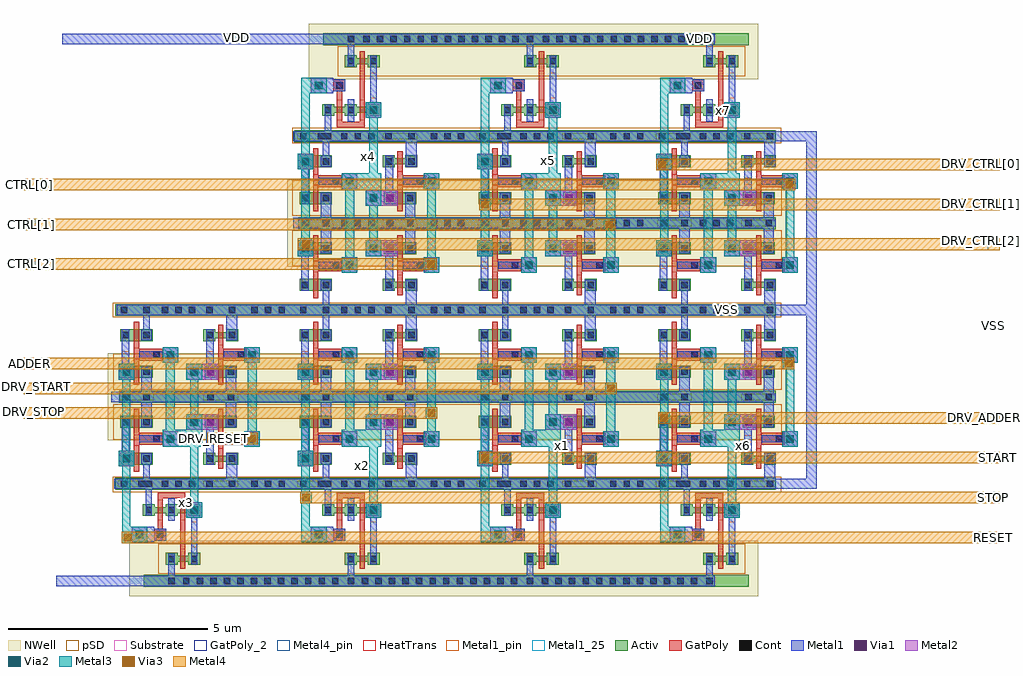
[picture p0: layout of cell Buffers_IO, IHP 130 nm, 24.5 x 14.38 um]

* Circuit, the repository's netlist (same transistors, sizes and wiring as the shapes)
** sch_path: $SCRIPT_DIR/ADC8711-main/schematic/xschem/Buffers_IO.sch
.subckt Buffers_IO DRV_START VDD START VSS DRV_STOP STOP DRV_RESET RESET DRV_ADDER ADDER DRV_CTRL[2] DRV_CTRL[1] DRV_CTRL[0]
+ CTRL[2] CTRL[1] CTRL[0]
*.PININFO DRV_START:I VDD:B VSS:B DRV_STOP:I DRV_RESET:I ADDER:I START:O STOP:O RESET:O DRV_ADDER:O CTRL[2:0]:I DRV_CTRL[2:0]:O
x1 VDD DRV_START VSS START Buffers
x2 VDD DRV_STOP VSS STOP Buffers
x3 VDD DRV_RESET VSS RESET Buffers
x6 VDD ADDER VSS DRV_ADDER Buffers
x4 VDD CTRL[2] VSS DRV_CTRL[2] Buffers
x5 VDD CTRL[1] VSS DRV_CTRL[1] Buffers
x7 VDD CTRL[0] VSS DRV_CTRL[0] Buffers
.ends

* expanding   symbol:  Buffers.sym # of pins=4
** sym_path: $SCRIPT_DIR/ADC8711-main/schematic/xschem/Buffers.sym
** sch_path: $SCRIPT_DIR/ADC8711-main/schematic/xschem/Buffers.sch
.subckt Buffers VDD IN VSS OUT
*.PININFO IN:I VDD:B VSS:B OUT:O
x1[1] VDD net1 IN VSS INV_D1
x1[0] VDD net1 IN VSS INV_D1
x2[1] VDD OUT net1 VSS INV_D2
x2[0] VDD OUT net1 VSS INV_D2
x3 VDD net1 OUT VSS INV05
.ends


* expanding   symbol:  INV_D1.sym # of pins=4
** sym_path: $SCRIPT_DIR/ADC8711-main/schematic/xschem/INV_D1.sym
** sch_path: $SCRIPT_DIR/ADC8711-main/schematic/xschem/INV_D1.sch
.subckt INV_D1 VDD VOUT VIN VSS
*.PININFO VDD:B VSS:B VOUT:O VIN:I
MM2 VOUT VIN VDD VDD sg13_lv_pmos w=0.3u l=0.13u ng=1
MM1 VOUT VIN VSS VSS sg13_lv_nmos w=0.15u l=0.13u ng=1
.ends


* expanding   symbol:  INV_D2.sym # of pins=4
** sym_path: $SCRIPT_DIR/ADC8711-main/schematic/xschem/INV_D2.sym
** sch_path: $SCRIPT_DIR/ADC8711-main/schematic/xschem/INV_D2.sch
.subckt INV_D2 VDD VOUT VIN VSS
*.PININFO VDD:B VSS:B VOUT:O VIN:I
MM1 VOUT VIN VSS VSS sg13_lv_nmos w=0.3u l=0.13u ng=1
MM2 VOUT VIN VDD VDD sg13_lv_pmos w=0.3u l=0.13u ng=1
.ends


* expanding   symbol:  INV05.sym # of pins=4
** sym_path: $SCRIPT_DIR/ADC8711-main/schematic/xschem/INV05.sym
** sch_path: $SCRIPT_DIR/ADC8711-main/schematic/xschem/INV05.sch
.subckt INV05 VDD VOUT VIN VSS
*.PININFO VDD:B VSS:B VOUT:O VIN:I
MM1 net1 VIN VSS VSS sg13_lv_nmos w=0.15u l=0.13u ng=1
MM3 VOUT VIN VDD VDD sg13_lv_pmos w=0.15u l=0.13u ng=1
MM2 VOUT VIN net1 VSS sg13_lv_nmos w=0.15u l=0.13u ng=1
.ends

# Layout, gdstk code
from math import pi, radians
import gdstk
lib = gdstk.Library(unit=1e-6, precision=5e-09)
def R(c, l, rs):  # rectangles x0, y0, x1, y1
    for r in rs: c.add(gdstk.rectangle(r[:2], r[2:], *l))
def A(c, l, x, y, w, h, nx, ny, dx, dy):  # array of equal rectangles
    R(c, l, [(x+i*dx, y+j*dy, x+i*dx+w, y+j*dy+h) for i in range(nx) for j in range(ny)])
Activ = (1, 0)
GatPoly = (5, 0)
GatPoly_2 = (5, 2)
Cont = (6, 0)
Metal1 = (8, 0)
Metal1_pin = (8, 2)
Metal1_25 = (8, 25)
Metal2 = (10, 0)
pSD = (14, 0)
Via1 = (19, 0)
Via2 = (29, 0)
Metal3 = (30, 0)
NWell = (31, 0)
Substrate = (40, 0)
Via3 = (49, 0)
Metal4 = (50, 0)
Metal4_pin = (50, 2)
HeatTrans = (51, 0)

via2_constraint_1 = lib.new_cell('VIA2_constraint$1')
R(via2_constraint_1, Metal2, [(-0.295,-0.095,0.095,0.295)])
R(via2_constraint_1, Via2, [(-0.195,0.005,-0.005,0.195)])
R(via2_constraint_1, Metal3, [(-0.295,-0.095,0.095,0.295)])

via1_constraint_1 = lib.new_cell('VIA1_constraint$1')
R(via1_constraint_1, Metal1, [(-0.39,0,0,0.39)])
R(via1_constraint_1, Metal2, [(-0.39,0,0,0.39)])
R(via1_constraint_1, Via1, [(-0.29,0.1,-0.1,0.29)])

pmos_1_12 = lib.new_cell('pmos$1$12')
R(pmos_1_12, Activ, [(-0.81,0,-0.51,0.3), (-0.81,0,0,0.3), (-0.3,0,0,0.3)])
R(pmos_1_12, GatPoly, [(-0.47,-0.18,-0.34,0.48), (-0.47,-0.18,-0.34,0.48)])
R(pmos_1_12, Cont, [(-0.74,0.07,-0.58,0.23), (-0.23,0.07,-0.07,0.23)])
R(pmos_1_12, Metal1, [(-0.74,0,-0.58,0.3), (-0.74,0,-0.58,0.3), (-0.28,0.02,-0.02,0.3), (-0.23,0.07,-0.07,0.3)])
R(pmos_1_12, pSD, [(-0.99,-0.3,0.18,0.6)])
R(pmos_1_12, NWell, [(-1.12,-0.31,0.31,0.61)])
R(pmos_1_12, Substrate, [(-0.81,0,-0.51,0.3)])
R(pmos_1_12, HeatTrans, [(-0.47,-0.18,-0.34,0.48)])
pmos_1_12.add(gdstk.Label('pmos', (-0.405,0.15), layer=63, texttype=0))
pmos_1_12.add(gdstk.Label('pmos', (-0.405,0.15), layer=51, texttype=0))

nmos_1_7 = lib.new_cell('nmos$1$7')
R(nmos_1_7, Activ, [(-0.87,0,-0.57,0.3), (-0.3,0,0,0.3), (-0.87,0.075,0,0.225)])
R(nmos_1_7, GatPoly, [(-0.5,-0.105,-0.37,0.405)])
R(nmos_1_7, GatPoly_2, [(-0.5,-0.105,-0.37,0.405)])
R(nmos_1_7, Cont, [(-0.8,0.07,-0.64,0.23), (-0.23,0.07,-0.07,0.23)])
R(nmos_1_7, Metal1, [(-0.8,0.02,-0.64,0.28), (-0.23,0.02,-0.07,0.225)])
R(nmos_1_7, Metal1_pin, [(-0.8,0.02,-0.64,0.28), (-0.23,0.02,-0.07,0.23)])
R(nmos_1_7, HeatTrans, [(-0.5,-0.105,-0.37,0.405)])
nmos_1_7.add(gdstk.Label('nmos', (-0.435,0.15), layer=63, texttype=0))
nmos_1_7.add(gdstk.Label('nmos', (-0.435,0.15), layer=51, texttype=0))

inv_d1_12 = lib.new_cell('INV_D1$12')
R(inv_d1_12, Activ, [(-1.15,-0.045,-0.28,0.255), (-1.15,2.135,-0.28,2.435)])
R(inv_d1_12, GatPoly, [(-0.65,1.08,-0.06,1.38), (-0.78,1.11,-0.65,1.325)])
R(inv_d1_12, GatPoly_2, [(-0.65,1.08,-0.06,1.38)])
R(inv_d1_12, Cont, [(-1.08,0.025,-0.92,0.185), (-0.51,0.025,-0.35,0.185), (-0.29,1.15,-0.13,1.31), (-1.05,2.205,-0.89,2.365), (-0.54,2.205,-0.38,2.365)])
R(inv_d1_12, Metal1, [(-0.575,-0.025,-0.3,0.025), (-1.15,0.025,-0.28,0.185), (-0.575,0.025,-0.3,0.865), (-0.64,1.14,-0.07,1.32), (-0.59,1.575,-0.33,2.365), (-1.15,2.205,-0.28,2.365), (-0.59,2.365,-0.33,2.415)])
R(inv_d1_12, Metal1_pin, [(-1.15,0.025,-0.28,0.185), (-1.08,1.14,-0.89,1.32), (-0.64,1.14,-0.07,1.32), (-1.15,2.205,-0.28,2.365)])
R(inv_d1_12, pSD, [(-1.28,-0.075,-0.15,0.285)])
R(inv_d1_12, NWell, [(-1.43,2.115,0,2.675)])
R(inv_d1_12, Substrate, [(-1.12,1.505,-0.82,1.805)])
inv_d1_12.add(gdstk.FlexPath([(-0.985,0.585),(-0.985,1.805)], 0.19, ends="flush", simple_path=True, layer=8, datatype=0))  # Metal1
inv_d1_12.add(gdstk.FlexPath([(-0.715,1.11),(-0.715,0.99)], 0.13, ends="flush", simple_path=True, layer=5, datatype=0))  # GatPoly
inv_d1_12.add(gdstk.Reference(pmos_1_12, (-0.31,1.505)))
inv_d1_12.add(gdstk.Reference(nmos_1_7, (-0.28,0.585)))
inv_d1_12.add(gdstk.Label('nmos', (-0.715,0.655), layer=63, texttype=0))
inv_d1_12.add(gdstk.Label('VSS', (-0.65,0.1), layer=8, texttype=25))
inv_d1_12.add(gdstk.Label('VIN', (-0.285,1.175), layer=8, texttype=25))
inv_d1_12.add(gdstk.Label('VOUT', (-1.03,1.165), layer=8, texttype=25))
inv_d1_12.add(gdstk.Label('VDD', (-0.655,2.28), layer=8, texttype=25))

pmos_2_5 = lib.new_cell('pmos$2$5')
R(pmos_2_5, Activ, [(-0.81,0,-0.51,0.3), (-0.81,0,0,0.3), (-0.3,0,0,0.3)])
R(pmos_2_5, GatPoly, [(-0.47,-0.18,-0.34,0.48), (-0.47,-0.18,-0.34,0.48)])
R(pmos_2_5, Cont, [(-0.74,0.07,-0.58,0.23), (-0.23,0.07,-0.07,0.23)])
R(pmos_2_5, Metal1, [(-0.74,0,-0.58,0.3), (-0.74,0,-0.58,0.3)])
R(pmos_2_5, pSD, [(-0.99,-0.3,0.18,0.6)])
R(pmos_2_5, NWell, [(-1.12,-0.31,0.31,0.61)])
R(pmos_2_5, Substrate, [(-0.81,0,-0.51,0.3)])
R(pmos_2_5, HeatTrans, [(-0.47,-0.18,-0.34,0.48)])
pmos_2_5.add(gdstk.Label('pmos', (-0.405,0.15), layer=63, texttype=0))
pmos_2_5.add(gdstk.Label('pmos', (-0.405,0.15), layer=51, texttype=0))

nmos_2_6 = lib.new_cell('nmos$2$6')
R(nmos_2_6, Activ, [(-0.81,0,-0.51,0.3), (-0.81,0,0,0.3), (-0.3,0,0,0.3)])
R(nmos_2_6, GatPoly, [(-0.47,-0.18,-0.34,0.48)])
R(nmos_2_6, GatPoly_2, [(-0.47,-0.18,-0.34,0.48)])
R(nmos_2_6, Cont, [(-0.74,0.07,-0.58,0.23), (-0.23,0.07,-0.07,0.23)])
R(nmos_2_6, Metal1, [(-0.74,0,-0.58,0.3)])
R(nmos_2_6, Metal1_pin, [(-0.74,0,-0.58,0.3)])
R(nmos_2_6, HeatTrans, [(-0.47,-0.18,-0.34,0.48)])
nmos_2_6.add(gdstk.Label('nmos', (-0.405,0.15), layer=63, texttype=0))
nmos_2_6.add(gdstk.Label('nmos', (-0.405,0.15), layer=51, texttype=0))

inv_d1_1_7 = lib.new_cell('INV_D1$1$7')
R(inv_d1_1_7, Activ, [(-1.25,-0.045,-0.31,0.255), (-1.15,2.135,-0.28,2.435)])
R(inv_d1_1_7, GatPoly, [(-0.65,1.08,-0.06,1.38), (-0.78,1.11,-0.65,1.325)])
R(inv_d1_1_7, GatPoly_2, [(-0.65,1.08,-0.06,1.38)])
R(inv_d1_1_7, Cont, [(-1.11,0.025,-0.95,0.185), (-0.54,0.025,-0.38,0.185), (-0.29,1.15,-0.13,1.31), (-1.05,2.205,-0.89,2.365), (-0.54,2.205,-0.38,2.365)])
R(inv_d1_1_7, Metal1, [(-1.18,0.025,-0.31,0.185), (-0.64,1.14,-0.07,1.32), (-1.15,2.205,-0.28,2.365)])
R(inv_d1_1_7, Metal1_pin, [(-1.18,0.025,-0.31,0.185), (-1.08,1.14,-0.89,1.32), (-0.64,1.14,-0.07,1.32), (-1.15,2.205,-0.28,2.365)])
R(inv_d1_1_7, pSD, [(-1.31,-0.075,-0.18,0.285)])
R(inv_d1_1_7, NWell, [(-1.43,2.115,0,2.675)])
R(inv_d1_1_7, Substrate, [(-1.12,1.505,-0.82,1.805)])
inv_d1_1_7.add(gdstk.FlexPath([(-0.985,0.585),(-0.985,1.805)], 0.19, ends="flush", simple_path=True, layer=8, datatype=0))  # Metal1
inv_d1_1_7.add(gdstk.FlexPath([(-0.715,1.11),(-0.715,0.99)], 0.13, ends="flush", simple_path=True, layer=5, datatype=0))  # GatPoly
inv_d1_1_7.add(gdstk.Reference(pmos_2_5, (-0.31,1.505)))
inv_d1_1_7.add(gdstk.Reference(nmos_2_6, (-0.31,0.585)))
inv_d1_1_7.add(gdstk.Label('nmos', (-0.745,0.655), layer=63, texttype=0))
inv_d1_1_7.add(gdstk.Label('VSS', (-0.68,0.1), layer=8, texttype=25))
inv_d1_1_7.add(gdstk.Label('VIN', (-0.285,1.175), layer=8, texttype=25))
inv_d1_1_7.add(gdstk.Label('VOUT', (-1.03,1.165), layer=8, texttype=25))
inv_d1_1_7.add(gdstk.Label('VDD', (-0.655,2.28), layer=8, texttype=25))

inv_d2_1 = lib.new_cell('INV_D2$1')
R(inv_d2_1, Metal1, [(-10.345,-0.74,-10.185,0.05), (-10.395,-0.16,-10.135,0.1), (-10.4,0.76,-10.135,1.6)])
inv_d2_1.add(gdstk.Reference(inv_d1_1_7, (-9.805,-0.765)))

pmos_9 = lib.new_cell('pmos$9')
R(pmos_9, Activ, [(-0.87,0,-0.57,0.3), (-0.3,0,0,0.3), (-0.87,0.075,0,0.225)])
R(pmos_9, GatPoly, [(-0.5,-0.105,-0.37,0.405), (-0.5,-0.105,-0.37,0.405)])
R(pmos_9, Cont, [(-0.8,0.07,-0.64,0.23), (-0.23,0.07,-0.07,0.23)])
R(pmos_9, Metal1, [(-0.8,0.02,-0.64,0.28), (-0.8,0.02,-0.64,0.28), (-0.23,0.02,-0.07,0.28), (-0.23,0.02,-0.07,0.28)])
R(pmos_9, pSD, [(-1.05,-0.225,0.18,0.525)])
R(pmos_9, NWell, [(-1.18,-0.31,0.31,0.61)])
R(pmos_9, Substrate, [(-0.87,0,-0.57,0.3)])
R(pmos_9, HeatTrans, [(-0.5,-0.105,-0.37,0.405)])
pmos_9.add(gdstk.Label('pmos', (-0.435,0.15), layer=63, texttype=0))
pmos_9.add(gdstk.Label('pmos', (-0.435,0.15), layer=51, texttype=0))

nmos_16 = lib.new_cell('nmos$16')
R(nmos_16, Activ, [(-0.87,0,-0.57,0.3), (-0.3,0,0,0.3), (-0.87,0.075,0,0.225)])
R(nmos_16, GatPoly, [(-0.5,-0.105,-0.37,0.405)])
R(nmos_16, GatPoly_2, [(-0.5,-0.105,-0.37,0.405)])
R(nmos_16, Cont, [(-0.8,0.07,-0.64,0.23), (-0.23,0.07,-0.07,0.23)])
R(nmos_16, Metal1, [(-0.8,0.02,-0.64,0.28), (-0.23,0.02,-0.07,0.28)])
R(nmos_16, Metal1_pin, [(-0.8,0.02,-0.64,0.28), (-0.23,0.02,-0.07,0.28)])
R(nmos_16, HeatTrans, [(-0.5,-0.105,-0.37,0.405)])
nmos_16.add(gdstk.Label('nmos', (-0.435,0.15), layer=63, texttype=0))
nmos_16.add(gdstk.Label('nmos', (-0.435,0.15), layer=51, texttype=0))

inv05_1 = lib.new_cell('INV05$1')
R(inv05_1, Activ, [(-1.21,-1.89,0.47,-1.59), (-1.245,0.55,0.435,0.85)])
R(inv05_1, GatPoly, [(-0.125,-0.615,0.175,-0.315)])
R(inv05_1, GatPoly_2, [(-0.04,-0.945,0.09,-0.825)])
R(inv05_1, Cont, [(0.23,-1.82,0.39,-1.66), (-0.055,-0.545,0.105,-0.385), (-0.34,0.62,-0.18,0.78)])
R(inv05_1, Metal1, [(0.18,-1.87,0.44,-1.61), (-0.34,-1.375,-0.18,-0.805), (-0.125,-0.615,0.175,-0.315), (-0.39,0.57,-0.13,0.83)])
R(inv05_1, Metal1_pin, [(0.23,-1.82,0.39,-1.66), (-0.91,-0.78,-0.75,-0.14), (-0.34,0.62,-0.18,0.78)])
R(inv05_1, pSD, [(-2.06,-1.92,1.215,-1.52)])
R(inv05_1, NWell, [(-1.485,-0.315,-1.29,0.605), (0.2,-0.315,0.675,0.605), (-1.485,0.605,0.675,1.09)])
inv05_1.add(gdstk.FlexPath([(-0.83,-0.95),(-0.83,0.015)], 0.16, ends="flush", simple_path=True, layer=8, datatype=0))  # Metal1
inv05_1.add(gdstk.FlexPath([(0.31,-1.82),(0.31,-1.21)], 0.16, ends="flush", simple_path=True, layer=8, datatype=0))  # Metal1
inv05_1.add(gdstk.FlexPath([(-0.26,0.275),(-0.26,0.78)], 0.16, ends="flush", simple_path=True, layer=8, datatype=0))  # Metal1
inv05_1.add(gdstk.FlexPath([(0.025,-1.335),(0.025,-1.445),(-0.545,-1.445),(-0.545,-1.335)], 0.13, ends="flush", simple_path=True, layer=5, datatype=0))  # GatPoly
inv05_1.add(gdstk.FlexPath([(-0.545,-0.825),(-0.545,-0.11)], 0.13, ends="flush", simple_path=True, layer=5, datatype=0))  # GatPoly
inv05_1.add(gdstk.FlexPath([(0.025,-0.825),(0.025,-0.465)], 0.13, ends="flush", simple_path=True, layer=5, datatype=0))  # GatPoly
inv05_1.add(gdstk.Reference(pmos_9, (-0.11,-0.005)))
inv05_1.add(gdstk.Reference(nmos_16, (0.46,-1.23)))
inv05_1.add(gdstk.Reference(nmos_16, (-0.11,-1.23)))
inv05_1.add(gdstk.Label('VDD', (-0.29,0.82), layer=8, texttype=2))
inv05_1.add(gdstk.Label('VSS', (0.275,-1.645), layer=8, texttype=2))
inv05_1.add(gdstk.Label('VOUT', (-0.88,-0.17), layer=8, texttype=2))
inv05_1.add(gdstk.Label('VIN', (0,-0.85), layer=5, texttype=2))

modi_buffers_placement_1 = lib.new_cell('Modi_Buffers_placement$1')
R(modi_buffers_placement_1, Activ, [(-3.265,-2.2,-0.28,-1.9), (-3.295,2.16,-0.28,2.46)])
R(modi_buffers_placement_1, Metal1, [(-2.165,-2.13,-0.35,-1.97)])
R(modi_buffers_placement_1, pSD, [(-3.395,-2.23,-0.15,-1.87), (-3.415,-0.95,-0.13,-0.05), (-3.415,0.31,-0.13,1.21), (-3.425,2.13,-0.15,2.49)])
modi_buffers_placement_1.add(gdstk.Reference(inv_d1_12, (0,2.415), x_reflection=True))
modi_buffers_placement_1.add(gdstk.Reference(inv_d1_12, (0,-2.155)))
modi_buffers_placement_1.add(gdstk.Reference(inv_d2_1, (7.69,-1.39)))
modi_buffers_placement_1.add(gdstk.Reference(inv_d2_1, (7.69,1.65), x_reflection=True))
modi_buffers_placement_1.add(gdstk.Reference(inv05_1, (-2.21,-3.79), rotation=pi))

buffers = lib.new_cell('Buffers')
R(buffers, Cont, [(-3.52,2.75,-3.18,2.91)])
R(buffers, Metal1, [(-3.3,1.365,-3.125,1.755), (-3.59,1.465,-2.895,1.655), (-4.13,2.7,-1.09,2.96), (-3.52,2.7,-3.18,2.96), (-3.145,3.865,-2.625,4.05), (-1.03,3.865,-0.555,4.045), (-2.315,4.185,-1.515,4.575), (-4.13,4.93,-1.02,5.09), (-2.315,5.445,-1.515,5.835), (-3.145,5.975,-2.625,6.16), (-1.03,5.975,-0.555,6.155), (-4.06,7.06,-1.04,7.32)])
R(buffers, Metal1_pin, [(-3.935,3.865,-3.745,4.045), (-1.03,3.875,-0.87,4.035)])
R(buffers, Metal1_25, [(-3.935,3.865,-3.745,4.045), (-1.03,3.875,-0.87,4.035)])
R(buffers, Metal2, [(-2.315,4.185,-1.515,4.575), (-2.315,5.445,-1.515,5.835)])
R(buffers, pSD, [(-4.165,2.61,-1.665,2.65), (-1.665,2.61,-0.89,2.65)])
R(buffers, Metal3, [(-3.93,1.365,-3.3,1.755), (-3.93,1.465,-3.72,3.555), (-2.225,2.075,-2.015,4.44), (-3.93,3.365,-3.72,5.735), (-2.915,3.76,-1.925,4.185), (-2.83,3.86,-2.61,6.16), (-0.775,3.86,-0.555,6.16), (-2.225,4.285,-2.015,5.735)])
buffers.add(gdstk.Reference(via2_constraint_1, (-2.02,5.54)))
buffers.add(gdstk.Reference(via2_constraint_1, (-0.565,3.855)))
buffers.add(gdstk.Reference(via2_constraint_1, (-2.02,4.28)))
buffers.add(gdstk.Reference(via1_constraint_1, (-1.515,5.445)))
buffers.add(gdstk.Reference(via1_constraint_1, (-1.515,4.185)))
buffers.add(gdstk.Reference(via1_constraint_1, (-1.925,5.445)))
buffers.add(gdstk.Reference(via1_constraint_1, (-1.925,4.185)))
buffers.add(gdstk.Reference(via2_constraint_1, (-2.02,2.07)))
buffers.add(gdstk.Reference(via1_constraint_1, (-1.925,1.975)))
buffers.add(gdstk.Reference(modi_buffers_placement_1, (-0.74,4.88)))
buffers.add(gdstk.Reference(via2_constraint_1, (-3.725,5.54)))
buffers.add(gdstk.Reference(via1_constraint_1, (-3.63,5.445)))
buffers.add(gdstk.Reference(via1_constraint_1, (-3.63,3.265)))
buffers.add(gdstk.Reference(via2_constraint_1, (-3.725,3.36)))
buffers.add(gdstk.Reference(via2_constraint_1, (-3.395,1.46)))
buffers.add(gdstk.Reference(via1_constraint_1, (-3.3,1.365)))
buffers.add(gdstk.Reference(via2_constraint_1, (-0.565,5.965)))
buffers.add(gdstk.Reference(via1_constraint_1, (-0.47,5.87)))
buffers.add(gdstk.Reference(via1_constraint_1, (-0.47,3.76)))
buffers.add(gdstk.Reference(via1_constraint_1, (-2.525,5.87)))
buffers.add(gdstk.Reference(via2_constraint_1, (-2.62,5.965)))
buffers.add(gdstk.Reference(via1_constraint_1, (-2.525,3.76)))
buffers.add(gdstk.Reference(via2_constraint_1, (-2.62,3.855)))
buffers.add(gdstk.Label('VDD', (-2.705,0.395), layer=8, texttype=25))
buffers.add(gdstk.Label('VSS', (-1.695,7.2), layer=8, texttype=25))
buffers.add(gdstk.Label('OUT', (-3.86,3.97), layer=8, texttype=25))
buffers.add(gdstk.Label('IN', (-0.95,3.955), layer=8, texttype=25))

via3_constraint_8 = lib.new_cell('Via3_constraint$8')
R(via3_constraint_8, Metal3, [(-0.29,0,0,0.29)])
R(via3_constraint_8, Via3, [(-0.24,0.05,-0.05,0.24)])
R(via3_constraint_8, Metal4, [(-0.29,0,0,0.29)])

via_stack_59 = lib.new_cell('via_stack$59')
R(via_stack_59, Activ, [(-2.02,-0.15,2.02,0.15)])
A(via_stack_59, Cont, -1.95, -0.08, 0.16, 0.16, 12, 1, 0.34, 0)
R(via_stack_59, Metal1, [(-2,-0.08,2,0.08)])

via_stack_60 = lib.new_cell('via_stack$60')
R(via_stack_60, Activ, [(-0.49,-0.15,0.49,0.15)])
A(via_stack_60, Cont, -0.42, -0.08, 0.16, 0.16, 3, 1, 0.34, 0)
R(via_stack_60, Metal1, [(-0.47,-0.08,0.47,0.08)])

buffers_io = lib.new_cell('Buffers_IO')
R(buffers_io, Activ, [(1.665,0.24,16.845,0.54), (0.945,2.68,17.53,2.98), (1.045,4.86,17.53,5.16), (0.945,7.04,17.53,7.34), (5.545,9.22,17.53,9.52), (5.445,11.4,17.53,11.7), (6.165,13.84,16.845,14.14)])
R(buffers_io, Metal1, [(-0.53,0.26,15.99,0.52), (0.92,2.7,18.55,2.96), (18.285,2.7,18.55,11.68), (0.85,4.875,17.48,5.14), (0.99,7.06,18.55,7.32), (5.42,9.24,17.48,9.5), (5.42,11.42,18.55,11.68), (-0.385,13.86,15.99,14.12)])
R(buffers_io, Metal1_pin, [(0.99,7.06,17.53,7.32), (6.165,13.86,15.99,14.12)])
R(buffers_io, pSD, [(2.03,0.57,16.76,1.32), (0.885,2.61,17.66,3.01), (0.895,3.93,17.68,4.83), (0.895,5.19,17.68,6.09), (0.885,7.01,17.66,7.37), (5.395,8.29,17.68,9.19), (5.395,9.55,17.68,10.45), (5.385,11.37,17.66,11.77), (6.53,13.06,16.76,13.81)])
R(buffers_io, NWell, [(1.305,0,17.085,1.405), (0.765,3.92,17.81,6.1), (5.265,8.28,17.81,10.46), (5.805,12.975,17.085,14.38), (5.805,12.975,17.085,14.38)])
A(buffers_io, Metal4, 22.85, 8.695, 0.29, 0.29, 1, 3, 0, 1)
R(buffers_io, Metal4, [(1.12,1.34,23.135,1.63), (22.845,1.34,23.135,1.63), (5.62,2.34,23.135,2.63), (22.845,2.34,23.135,2.63), (10.085,3.34,23.14,3.63), (22.85,3.34,23.14,3.63), (3.26,3.82,3.55,4.11), (3.26,3.82,4.53,4.11), (14.575,4.34,23.14,4.63), (22.85,4.34,23.14,4.63), (-1.355,4.465,-1.065,4.755), (-1.355,4.465,9.025,4.755), (-1.355,5.08,-1.065,5.37), (-1.355,5.08,13.535,5.37), (-1.355,5.705,-1.065,5.995), (-1.355,5.705,17.995,5.995), (-1.355,8.195,-1.065,8.485), (-1.355,8.195,9.015,8.485), (5.53,8.695,23.14,8.985), (-1.355,9.195,-1.065,9.485), (-1.355,9.195,13.495,9.485), (10.085,9.695,23.14,9.985), (-1.35,10.195,-1.06,10.485), (-1.35,10.195,18.015,10.485), (14.53,10.695,23.14,10.985)])
A(buffers_io, Metal4_pin, 22.85, 8.695, 0.29, 0.29, 1, 3, 0, 1)
R(buffers_io, Metal4_pin, [(22.845,1.34,23.135,1.63), (22.845,2.34,23.135,2.63), (22.85,3.34,23.14,3.63), (3.26,3.82,3.55,4.11), (22.85,4.34,23.14,4.63), (-1.355,4.465,-1.065,4.755), (-1.355,5.08,-1.065,5.37), (-1.355,8.195,-1.065,8.485), (-1.355,9.195,-1.065,9.485), (-1.35,10.195,-1.06,10.485)])
r = gdstk.Reference(buffers, (9.55,14.38), x_reflection=True); r.repetition = gdstk.Repetition(3, 1, v1=(4.5,0), v2=(0,0)); buffers_io.add(r)
buffers_io.add(gdstk.Reference(via3_constraint_8, (14.575,4.34), rotation=3*pi/2))
buffers_io.add(gdstk.Reference(via3_constraint_8, (10.085,3.34), rotation=3*pi/2))
buffers_io.add(gdstk.Reference(via3_constraint_8, (5.585,2.34), rotation=3*pi/2))
buffers_io.add(gdstk.Reference(via3_constraint_8, (1.115,1.34), rotation=3*pi/2))
buffers_io.add(gdstk.Reference(via3_constraint_8, (14.53,10.695), rotation=3*pi/2))
buffers_io.add(gdstk.Reference(via3_constraint_8, (17.725,10.195), rotation=3*pi/2))
buffers_io.add(gdstk.Reference(via3_constraint_8, (10.085,9.695), rotation=3*pi/2))
buffers_io.add(gdstk.Reference(via3_constraint_8, (13.205,9.195), rotation=3*pi/2))
buffers_io.add(gdstk.Reference(via3_constraint_8, (5.585,8.695), rotation=3*pi/2))
buffers_io.add(gdstk.Reference(via3_constraint_8, (8.725,8.195), rotation=3*pi/2))
buffers_io.add(gdstk.Reference(via3_constraint_8, (8.735,4.46), rotation=3*pi/2))
buffers_io.add(gdstk.Reference(via3_constraint_8, (13.245,5.08), rotation=3*pi/2))
buffers_io.add(gdstk.Reference(via3_constraint_8, (17.705,5.705), rotation=3*pi/2))
r = gdstk.Reference(buffers, (5.05,0)); r.repetition = gdstk.Repetition(4, 1, v1=(4.5,0), v2=(0,0)); buffers_io.add(r)
buffers_io.add(gdstk.Reference(via3_constraint_8, (4.24,3.82), rotation=3*pi/2))
buffers_io.add(gdstk.Reference(via_stack_59, (9.125,13.99)))
buffers_io.add(gdstk.Reference(via_stack_59, (13.63,13.99)))
buffers_io.add(gdstk.Reference(via_stack_59, (4.6,0.39)))
buffers_io.add(gdstk.Reference(via_stack_59, (9.085,0.39)))
buffers_io.add(gdstk.Reference(via_stack_59, (13.605,0.39)))
r = gdstk.Reference(via_stack_60, (2.535,2.83)); r.repetition = gdstk.Repetition(7, 1, v1=(2.25,0), v2=(0,0)); buffers_io.add(r)
r = gdstk.Reference(via_stack_60, (2.535,7.19)); r.repetition = gdstk.Repetition(7, 1, v1=(2.25,0), v2=(0,0)); buffers_io.add(r)
r = gdstk.Reference(via_stack_60, (7.035,11.55)); r.repetition = gdstk.Repetition(5, 1, v1=(2.25,0), v2=(0,0)); buffers_io.add(r)
r = gdstk.Reference(via_stack_60, (7.035,9.37)); r.repetition = gdstk.Repetition(5, 1, v1=(2.25,0), v2=(0,0)); buffers_io.add(r)
buffers_io.add(gdstk.Label('x1', (12.185,3.795), layer=63, texttype=0))
buffers_io.add(gdstk.Label('x2', (7.165,3.29), layer=63, texttype=0))
buffers_io.add(gdstk.Label('x3', (2.745,2.37), layer=63, texttype=0))
buffers_io.add(gdstk.Label('x6', (16.72,3.78), layer=63, texttype=0))
buffers_io.add(gdstk.Label('x4', (7.295,11.03), layer=63, texttype=0))
buffers_io.add(gdstk.Label('x5', (11.815,10.945), layer=63, texttype=0))
buffers_io.add(gdstk.Label('x7', (16.205,12.185), layer=63, texttype=0))
buffers_io.add(gdstk.Label('VSS', (23,6.805), layer=8, texttype=2))
buffers_io.add(gdstk.Label('VDD', (3.98,14.03), layer=8, texttype=2))
buffers_io.add(gdstk.Label('VDD', (15.615,14.01), layer=8, texttype=25))
buffers_io.add(gdstk.Label('VSS', (16.285,7.215), layer=8, texttype=25))
buffers_io.add(gdstk.Label('DRV_START', (-1.235,5.265), layer=50, texttype=25))
buffers_io.add(gdstk.Label('DRV_STOP', (-1.215,4.64), layer=50, texttype=25))
buffers_io.add(gdstk.Label('CTRL[0]', (-1.195,10.34), layer=50, texttype=25))
buffers_io.add(gdstk.Label('CTRL[1]', (-1.15,9.335), layer=50, texttype=25))
buffers_io.add(gdstk.Label('CTRL[2]', (-1.16,8.345), layer=50, texttype=25))
buffers_io.add(gdstk.Label('ADDER', (-1.21,5.85), layer=50, texttype=25))
buffers_io.add(gdstk.Label('DRV_CTRL[0]', (23.04,10.855), layer=50, texttype=25))
buffers_io.add(gdstk.Label('DRV_CTRL[1]', (23.04,9.875), layer=50, texttype=25))
buffers_io.add(gdstk.Label('DRV_CTRL[2]', (23.06,8.935), layer=50, texttype=25))
buffers_io.add(gdstk.Label('START', (23.08,3.485), layer=50, texttype=25))
buffers_io.add(gdstk.Label('STOP', (23,2.49), layer=50, texttype=25))
buffers_io.add(gdstk.Label('RESET', (22.99,1.485), layer=50, texttype=25))
buffers_io.add(gdstk.Label('DRV_ADDER', (22.99,4.48), layer=50, texttype=25))
buffers_io.add(gdstk.Label('DRV_RESET', (3.41,3.965), layer=50, texttype=25))

lib.write_gds('Buffers_IO.gds')
